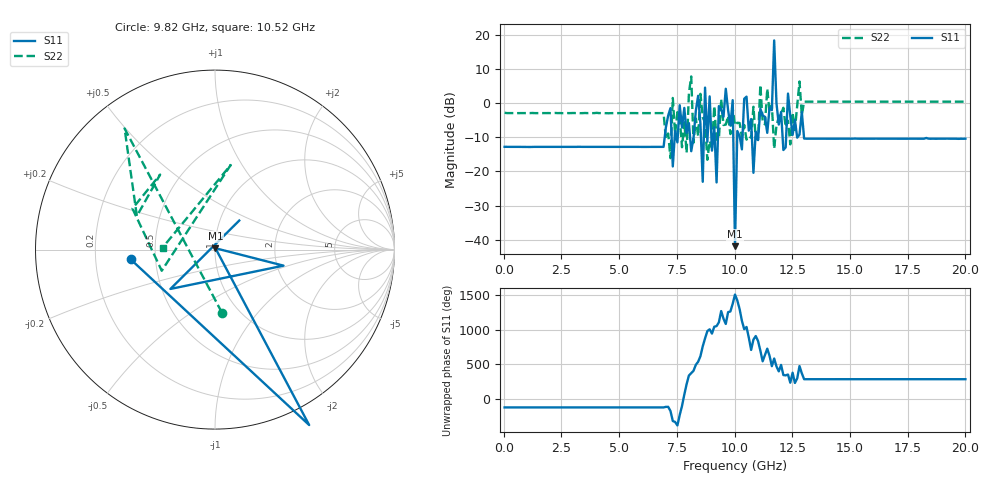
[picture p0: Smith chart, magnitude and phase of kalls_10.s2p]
! Micran, Research & Production Company
! Date: 2025-04-14 15:17:42
! Frequency	S11	S21	S12	S22
# Hz S dB R 50
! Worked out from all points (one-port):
!   201 points, 40 MHz to 20 GHz, reference 50 ohm
!   lowest |S11| = -41.9 dB at 10.02 GHz (marker M1), VSWR 1.02, Z = 50.2 + j0.771 ohm
!   |S11| at or under -10 dB: start of sweep to 6.975 GHz; 8.075 GHz to 8.226 GHz (151.1 MHz wide, 1.85 % of centre); 13.01 GHz to end of sweep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
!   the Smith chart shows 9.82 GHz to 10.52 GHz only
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4e7  -12.77 -129.4  -200.00 0.0  -200.00 0.0  -2.80 146.5
3.4332e9  -12.78 -129.6  -200.00 0.0  -200.00 0.0  -2.89 146.3
6.7266e9  -12.79 -129.5  -200.00 0.0  -200.00 0.0  -2.89 146.3
8.024e9  -5.84 -25.3  -200.00 0.0  -200.00 0.0  3.02 -49.3
8.1238e9  -14.06 10.0  -200.00 0.0  -200.00 0.0  7.86 89.2
8.2236e9  -10.16 44.0  -200.00 0.0  -200.00 0.0  -11.55 123.7
8.7226e9  4.58 154.9  -200.00 0.0  -200.00 0.0  -5.72 148.7
8.9222e9  2.01 -73.2  -200.00 0.0  -200.00 0.0  -11.08 150.4
9.521e9  -3.98 82.1  -200.00 0.0  -200.00 0.0  -6.39 164.8
9.9202e9  0.90 -61.8  -200.00 0.0  -200.00 0.0  -1.49 126.7
1.002e10  -41.89 72.5  -200.00 0.0  -200.00 0.0  -6.49 156.8
1.04192e10  1.32 -71.8  -200.00 0.0  -200.00 0.0  -6.39 79.5
1.08184e10  -20.39 137.7  -200.00 0.0  -200.00 0.0  -1.02 170.5
1.11178e10  -1.61 -22.2  -200.00 0.0  -200.00 0.0  5.41 49.7
1.13174e10  -3.98 -88.2  -200.00 0.0  -200.00 0.0  -6.23 168.0
1.14172e10  -8.67 5.3  -200.00 0.0  -200.00 0.0  4.25 -17.7
1.16168e10  -2.02 110.0  -200.00 0.0  -200.00 0.0  -0.49 -117.5
1.17166e10  18.40 -138.0  -200.00 0.0  -200.00 0.0  -13.35 -127.6
1.18164e10  0.04 107.1  -200.00 0.0  -200.00 0.0  -6.55 154.5
1.34132e10  -10.39 -78.9  -200.00 0.0  -200.00 0.0  0.47 35.8
1.67066e10  -10.39 -78.9  -200.00 0.0  -200.00 0.0  0.46 35.8
2e10  -10.39 -79.1  -200.00 0.0  -200.00 0.0  0.46 35.8
